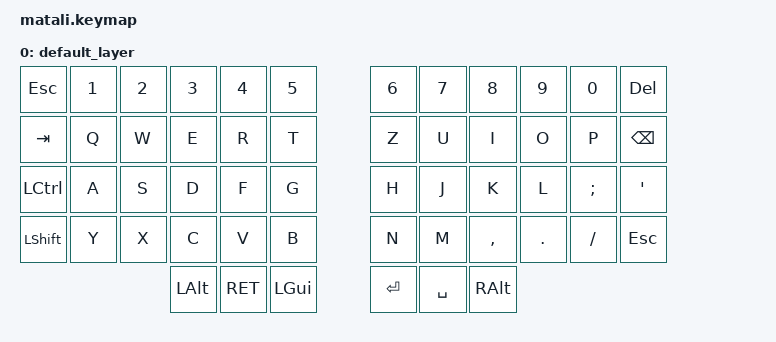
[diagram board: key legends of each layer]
/*
 * Copyright (c) 2020 The ZMK Contributors
 *
 * SPDX-License-Identifier: MIT
 */

#include <behaviors.dtsi>
#include <dt-bindings/zmk/keys.h>
#include <dt-bindings/zmk/bt.h>

/ {
        keymap {
                compatible = "zmk,keymap";

                default_layer {
// -----------------------------------------------------------------------------------------
// |  ESC |  1  |  2  |  3  |  4  |  5  |   |  6  |  7   |  8  |  9  |  0  | DEL  |
// |  TAB |  Q  |  W  |  E  |  R  |  T  |   |  Z  |  U   |  I  |  O  |  P  | BSPC |
// | CTRL |  A  |  S  |  D  |  F  |  G  |   |  H  |  J   |  K  |  L  |  ;  |  '   |
// | SHFT |  Y  |  X  |  C  |  V  |  B  |   |  N  |  M   |  ,  |  .  |  /  | ESC  |
//                    | ALT | ENT | WIN |   | ENT | SPACE| ALT |
                        bindings = <
   &kp ESC &kp N1 &kp N2 &kp N3 &kp N4 &kp N5         &kp N6 &kp N7  &kp N8  &kp N9   &kp N0  &kp DEL 
   &kp TAB   &kp Q &kp W &kp E &kp R &kp T              &kp Z &kp U  &kp I     &kp O   &kp P    &kp BSPC
   &kp LCTRL &kp A &kp S &kp D &kp F &kp G              &kp H &kp J  &kp K     &kp L   &kp SEMI &kp SQT
   &kp LSHFT &kp Y &kp X &kp C &kp V &kp B              &kp N &kp M  &kp COMMA &kp DOT &kp FSLH &kp ESC
                  &kp LALT &RET &kp LGUI                &kp RET &kp SPACE  &kp RALT
                        >;
                };
        };
};
